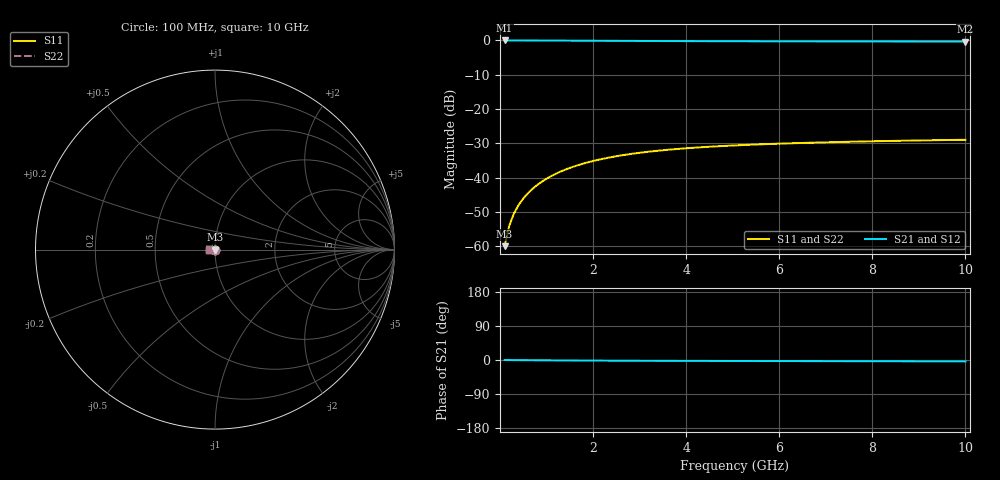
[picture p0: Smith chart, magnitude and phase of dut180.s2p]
! Touchstone file exported from HFSS 2024.1.0
!  File:  C:/UserFiles/LocalFiles/RDL_TSV_Batchsim/temp_TSV1_180_1778756195.aedt
!  Generated:  07:03:07 PM May 14, 2026
!  Design:  TSV1
!  Project:  temp_TSV1_180_1778756195
!  Setup:  Setup1
!  Solution:  Sweep
! Variables:
!  dtsv = 12.44um
!  hbump = 3um
!  htsv = 53.51um
!  lrdl = 252.1521522um
!  p = 40
!  p1 = 50.29um
!  t = 500um
!  trdl = 3um
!  wrdl = 24.89489489um
# GHz S MA R 50.000000
! Terminal data exported
! Port[1] = TSV22_T1
! Port[2] = TSV22_T2
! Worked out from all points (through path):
!   100 points, 100 MHz to 10 GHz, reference 50 ohm
!   highest |S21| = 0.00 dB at 100 MHz (marker M1); lowest = -0.3 dB at 10 GHz (marker M2)
!   lowest |S11| = -59.9 dB at 100 MHz (marker M3), VSWR 1.00, Z = 50 - j0.101 ohm
!   |S11| at or under -10 dB: start of sweep to end of sweep
!   |S22| runs from -59.9 to -28.9 dB; largest |S21 - S12| = 5.1e-15
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0.1  0.001007 -87.6  0.9999 -0.1  0.9999 -0.1  0.001007 -87.6
! Gamma 0 0 0 0
! Port Impedance 50 0 50 0
0.2  0.002007 -91.4  0.9998 -0.2  0.9998 -0.2  0.002007 -91.4
0.3  0.003004 -93.9  0.9996 -0.3  0.9996 -0.3  0.003004 -93.9
0.4  0.003994 -96.0  0.9994 -0.4  0.9994 -0.4  0.003994 -96.0
0.5  0.004975 -97.9  0.9991 -0.5  0.9991 -0.5  0.004975 -97.9
0.6  0.005944 -99.8  0.9988 -0.5  0.9988 -0.5  0.005944 -99.8
0.7  0.0069 -101.6  0.9984 -0.6  0.9984 -0.6  0.0069 -101.6
0.8  0.007841 -103.3  0.9979 -0.7  0.9979 -0.7  0.007841 -103.3
0.9  0.008765 -105.0  0.9974 -0.8  0.9974 -0.8  0.008765 -105.0
1.1  0.01056 -108.4  0.9963 -1.0  0.9963 -1.0  0.01056 -108.4
1.4  0.01309 -113.1  0.9945 -1.2  0.9945 -1.2  0.01309 -113.1
1.6  0.01466 -116.1  0.9932 -1.3  0.9932 -1.3  0.01466 -116.1
1.8  0.01613 -119.0  0.9918 -1.4  0.9918 -1.4  0.01613 -119.0
2.1  0.01817 -123.1  0.9898 -1.6  0.9898 -1.6  0.01817 -123.1
2.5  0.02056 -128.1  0.9871 -1.8  0.9871 -1.8  0.02056 -128.1
2.9  0.02262 -132.5  0.9845 -1.9  0.9845 -1.9  0.02262 -132.5
3.4  0.02477 -137.5  0.9816 -2.1  0.9816 -2.1  0.02477 -137.5
4.2  0.02745 -144.3  0.9775 -2.4  0.9775 -2.4  0.02745 -144.3
5.1  0.02968 -150.6  0.9738 -2.6  0.9738 -2.6  0.02968 -150.6
6.7  0.0324 -159.2  0.9691 -2.9  0.9691 -2.9  0.0324 -159.2
8.4  0.03437 -166.5  0.9658 -3.3  0.9658 -3.3  0.03437 -166.5
10  0.03574 -172.3  0.9637 -3.7  0.9637 -3.7  0.03574 -172.3
